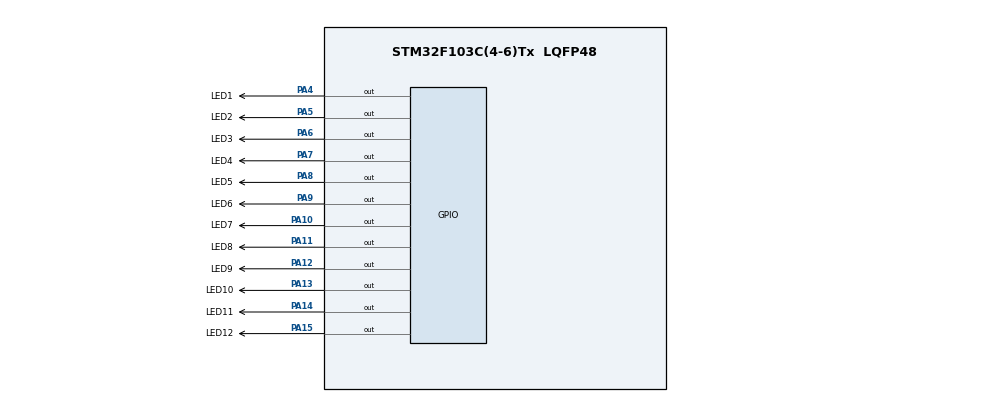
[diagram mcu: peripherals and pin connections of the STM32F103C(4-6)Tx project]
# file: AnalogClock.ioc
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Mcu.Family=STM32F1
Mcu.Name=STM32F103C(4-6)Tx
Mcu.Package=LQFP48
NVIC.PriorityGroup=NVIC_PRIORITYGROUP_4
PA10.GPIO_Label=LED7
PA10.Signal=GPIO_Output
PA11.GPIO_Label=LED8
PA11.Signal=GPIO_Output
PA12.GPIO_Label=LED9
PA12.Signal=GPIO_Output
PA13.GPIO_Label=LED10
PA13.Signal=GPIO_Output
PA14.GPIO_Label=LED11
PA14.Signal=GPIO_Output
PA15.GPIO_Label=LED12
PA15.Signal=GPIO_Output
PA4.GPIO_Label=LED1
PA4.Signal=GPIO_Output
PA5.GPIO_Label=LED2
PA5.Signal=GPIO_Output
PA6.GPIO_Label=LED3
PA6.Signal=GPIO_Output
PA7.GPIO_Label=LED4
PA7.Signal=GPIO_Output
PA8.GPIO_Label=LED5
PA8.Signal=GPIO_Output
PA9.GPIO_Label=LED6
PA9.Signal=GPIO_Output
ProjectManager.HeapSize=0x200
ProjectManager.StackSize=0x400
ProjectManager.TargetToolchain=STM32CubeIDE
RCC.APB1Freq_Value=8000000
RCC.APB2Freq_Value=8000000
board=custom

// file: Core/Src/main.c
/* USER CODE BEGIN Header */
/**
  ******************************************************************************
  * @file           : main.c
  * @brief          : Main program body
  ******************************************************************************
  * @attention
  *
  * Copyright (c) 2023 STMicroelectronics.
  * All rights reserved.
  *
  * This software is licensed under terms that can be found in the LICENSE file
  * in the root directory of this software component.
  * If no LICENSE file comes with this software, it is provided AS-IS.
  *
  ******************************************************************************
  */
/* USER CODE END Header */
#include "main.h"

/* USER CODE BEGIN PD */
#define SECONDS_PER_TICK 5
#define SECOND_CYCLES_PER_MINUTE 5
#define NUM_OF_TICKS 12
#define SECOND_DURATION 1

/* USER CODE END PD */

void SystemClock_Config(void);
static void MX_GPIO_Init(void);
/* USER CODE BEGIN PFP */
void clearAllClock();
void setNumberOnClock(int);
void clearNumberOnClock(int);
/* USER CODE END PFP */

int main(void)
{

  /* MCU Configuration--------------------------------------------------------*/

  /* Reset of all peripherals, Initializes the Flash interface and the Systick. */
  HAL_Init();

  /* Configure the system clock */
  SystemClock_Config();

  /* Initialize all configured peripherals */
  MX_GPIO_Init();

  /* Infinite loop */
  /* USER CODE BEGIN WHILE */
  uint8_t counter_second_led = 0;
  uint8_t counter_minute_led = 0;
  uint8_t counter_hour_led = 0;
  uint8_t counter_second_cycles = SECOND_CYCLES_PER_MINUTE;
  uint8_t counter_second = SECONDS_PER_TICK;
  uint8_t timer_counter = SECOND_DURATION;
  clearAllClock();
  setNumberOnClock(counter_second_led);
  setNumberOnClock(counter_minute_led);
  setNumberOnClock(counter_hour_led);
  while (1)
  {
	  if (timer_counter <= 0)
	  {
		  timer_counter = SECOND_DURATION;
		  --counter_second;
		  if (counter_second <= 0)
		  {
			  counter_second = SECONDS_PER_TICK;
			  clearNumberOnClock(counter_second_led);
			  clearNumberOnClock(counter_minute_led);
			  clearNumberOnClock(counter_hour_led);

			  ++counter_second_led;
			  if (counter_second_led >= NUM_OF_TICKS)
			  {
				  counter_second_led = 0;
				  --counter_second_cycles;
				  if (counter_second_cycles <= 0)
				  {
					  counter_second_cycles = SECOND_CYCLES_PER_MINUTE;
					  ++counter_minute_led;
				  }
			  }

			  if (counter_minute_led >= NUM_OF_TICKS)
			  {
				  counter_minute_led = 0;
				  ++counter_hour_led;
			  }

			  if (counter_hour_led >= NUM_OF_TICKS)
			  {
				  counter_hour_led = 0;
			  }

			  setNumberOnClock(counter_second_led);
			  setNumberOnClock(counter_minute_led);
			  setNumberOnClock(counter_hour_led);
		  }
	  }
	  --timer_counter;
	  HAL_Delay(1000);
    /* USER CODE END WHILE */

  }
}

void SystemClock_Config(void)
{
  RCC_OscInitTypeDef RCC_OscInitStruct = {0};
  RCC_ClkInitTypeDef RCC_ClkInitStruct = {0};

  /** Initializes the RCC Oscillators according to the specified parameters
  * in the RCC_OscInitTypeDef structure.
  */
  RCC_OscInitStruct.OscillatorType = RCC_OSCILLATORTYPE_HSI;
  RCC_OscInitStruct.HSIState = RCC_HSI_ON;
  RCC_OscInitStruct.HSICalibrationValue = RCC_HSICALIBRATION_DEFAULT;
  RCC_OscInitStruct.PLL.PLLState = RCC_PLL_NONE;
  if (HAL_RCC_OscConfig(&RCC_OscInitStruct) != HAL_OK)
  {
    Error_Handler();
  }

  /** Initializes the CPU, AHB and APB buses clocks
  */
  RCC_ClkInitStruct.ClockType = RCC_CLOCKTYPE_HCLK|RCC_CLOCKTYPE_SYSCLK
                              |RCC_CLOCKTYPE_PCLK1|RCC_CLOCKTYPE_PCLK2;
  RCC_ClkInitStruct.SYSCLKSource = RCC_SYSCLKSOURCE_HSI;
  RCC_ClkInitStruct.AHBCLKDivider = RCC_SYSCLK_DIV1;
  RCC_ClkInitStruct.APB1CLKDivider = RCC_HCLK_DIV1;
  RCC_ClkInitStruct.APB2CLKDivider = RCC_HCLK_DIV1;

  if (HAL_RCC_ClockConfig(&RCC_ClkInitStruct, FLASH_LATENCY_0) != HAL_OK)
  {
    Error_Handler();
  }
}

static void MX_GPIO_Init(void)
{
  GPIO_InitTypeDef GPIO_InitStruct = {0};

  /* GPIO Ports Clock Enable */
  __HAL_RCC_GPIOA_CLK_ENABLE();

  /*Configure GPIO pin Output Level */
  HAL_GPIO_WritePin(GPIOA, LED1_Pin|LED2_Pin|LED3_Pin|LED4_Pin
                          |LED5_Pin|LED6_Pin|LED7_Pin|LED8_Pin
                          |LED9_Pin|LED10_Pin|LED11_Pin|LED12_Pin, GPIO_PIN_RESET);

  /*Configure GPIO pins : LED1_Pin LED2_Pin LED3_Pin LED4_Pin
                           LED5_Pin LED6_Pin LED7_Pin LED8_Pin
                           LED9_Pin LED10_Pin LED11_Pin LED12_Pin */
  GPIO_InitStruct.Pin = LED1_Pin|LED2_Pin|LED3_Pin|LED4_Pin
                          |LED5_Pin|LED6_Pin|LED7_Pin|LED8_Pin
                          |LED9_Pin|LED10_Pin|LED11_Pin|LED12_Pin;
  GPIO_InitStruct.Mode = GPIO_MODE_OUTPUT_PP;
  GPIO_InitStruct.Pull = GPIO_NOPULL;
  GPIO_InitStruct.Speed = GPIO_SPEED_FREQ_LOW;
  HAL_GPIO_Init(GPIOA, &GPIO_InitStruct);

}

/* USER CODE BEGIN 4 */
void clearAllClock()
{
	HAL_GPIO_WritePin(LED1_GPIO_Port, LED1_Pin, GPIO_PIN_RESET);
	HAL_GPIO_WritePin(LED2_GPIO_Port, LED2_Pin, GPIO_PIN_RESET);
	HAL_GPIO_WritePin(LED3_GPIO_Port, LED3_Pin, GPIO_PIN_RESET);
	HAL_GPIO_WritePin(LED4_GPIO_Port, LED4_Pin, GPIO_PIN_RESET);
	HAL_GPIO_WritePin(LED5_GPIO_Port, LED5_Pin, GPIO_PIN_RESET);
	HAL_GPIO_WritePin(LED6_GPIO_Port, LED6_Pin, GPIO_PIN_RESET);
	HAL_GPIO_WritePin(LED7_GPIO_Port, LED7_Pin, GPIO_PIN_RESET);
	HAL_GPIO_WritePin(LED8_GPIO_Port, LED8_Pin, GPIO_PIN_RESET);
	HAL_GPIO_WritePin(LED9_GPIO_Port, LED9_Pin, GPIO_PIN_RESET);
	HAL_GPIO_WritePin(LED10_GPIO_Port, LED10_Pin, GPIO_PIN_RESET);
	HAL_GPIO_WritePin(LED11_GPIO_Port, LED11_Pin, GPIO_PIN_RESET);
	HAL_GPIO_WritePin(LED12_GPIO_Port, LED12_Pin, GPIO_PIN_RESET);
}

void setNumberOnClock(int num)
{
	switch (num)
	{
	case 1:
		HAL_GPIO_WritePin(LED1_GPIO_Port, LED1_Pin, GPIO_PIN_SET);
		break;
	case 2:
		HAL_GPIO_WritePin(LED2_GPIO_Port, LED2_Pin, GPIO_PIN_SET);
		break;
	case 3:
		HAL_GPIO_WritePin(LED3_GPIO_Port, LED3_Pin, GPIO_PIN_SET);
		break;
	case 4:
		HAL_GPIO_WritePin(LED4_GPIO_Port, LED4_Pin, GPIO_PIN_SET);
		break;
	case 5:
		HAL_GPIO_WritePin(LED5_GPIO_Port, LED5_Pin, GPIO_PIN_SET);
		break;
	case 6:
		HAL_GPIO_WritePin(LED6_GPIO_Port, LED6_Pin, GPIO_PIN_SET);
		break;
	case 7:
		HAL_GPIO_WritePin(LED7_GPIO_Port, LED7_Pin, GPIO_PIN_SET);
		break;
	case 8:
		HAL_GPIO_WritePin(LED8_GPIO_Port, LED8_Pin, GPIO_PIN_SET);
		break;
	case 9:
		HAL_GPIO_WritePin(LED9_GPIO_Port, LED9_Pin, GPIO_PIN_SET);
		break;
	case 10:
		HAL_GPIO_WritePin(LED10_GPIO_Port, LED10_Pin, GPIO_PIN_SET);
		break;
	case 11:
		HAL_GPIO_WritePin(LED11_GPIO_Port, LED11_Pin, GPIO_PIN_SET);
		break;
	case 0:
		HAL_GPIO_WritePin(LED12_GPIO_Port, LED12_Pin, GPIO_PIN_SET);
		break;
	}
}

void clearNumberOnClock(int num)
{
	switch (num)
	{
	case 1:
		HAL_GPIO_WritePin(LED1_GPIO_Port, LED1_Pin, GPIO_PIN_RESET);
		break;
	case 2:
		HAL_GPIO_WritePin(LED2_GPIO_Port, LED2_Pin, GPIO_PIN_RESET);
		break;
	case 3:
		HAL_GPIO_WritePin(LED3_GPIO_Port, LED3_Pin, GPIO_PIN_RESET);
		break;
	case 4:
		HAL_GPIO_WritePin(LED4_GPIO_Port, LED4_Pin, GPIO_PIN_RESET);
		break;
	case 5:
		HAL_GPIO_WritePin(LED5_GPIO_Port, LED5_Pin, GPIO_PIN_RESET);
		break;
	case 6:
		HAL_GPIO_WritePin(LED6_GPIO_Port, LED6_Pin, GPIO_PIN_RESET);
		break;
	case 7:
		HAL_GPIO_WritePin(LED7_GPIO_Port, LED7_Pin, GPIO_PIN_RESET);
		break;
	case 8:
		HAL_GPIO_WritePin(LED8_GPIO_Port, LED8_Pin, GPIO_PIN_RESET);
		break;
	case 9:
		HAL_GPIO_WritePin(LED9_GPIO_Port, LED9_Pin, GPIO_PIN_RESET);
		break;
	case 10:
		HAL_GPIO_WritePin(LED10_GPIO_Port, LED10_Pin, GPIO_PIN_RESET);
		break;
	case 11:
		HAL_GPIO_WritePin(LED11_GPIO_Port, LED11_Pin, GPIO_PIN_RESET);
		break;
	case 0:
		HAL_GPIO_WritePin(LED12_GPIO_Port, LED12_Pin, GPIO_PIN_RESET);
		break;
	}
}
/* USER CODE END 4 */

void Error_Handler(void)
{
  __disable_irq();
  while (1)
  {
  }
}
